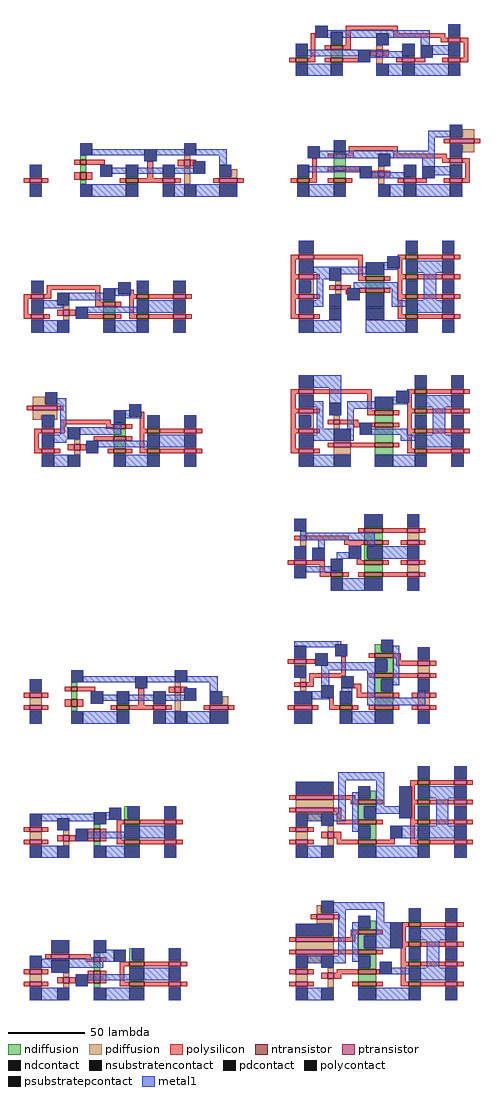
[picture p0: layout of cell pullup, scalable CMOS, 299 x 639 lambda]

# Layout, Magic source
magic
tech scmos
use m_p1 m_p1_0
transform 1 0 107 0 1 234
box -122 37 -4 71
use s_p1_phi s_p1_phi_0
transform 1 0 -26 0 1 167
box -163 25 -19 60
use m_p1_phi m_p1_phi_0
transform 1 0 97 0 1 168
box -111 23 13 71
use s_p1inv s_p1inv_0
transform 1 0 -50 0 1 133
box -140 -31 -27 5
use m_p1inv m_p1inv_0
transform 1 0 113 0 1 121
box -128 -19 -14 43
use s_p1inv_plo s_p1inv_plo_0
transform 1 0 -45 0 1 42
box -142 -28 -25 22
use m_p1inv_plo m_p1inv_plo_0
transform 1 0 114 0 1 41
box -129 -27 -9 35
use m_p2 m_p2_0
transform 1 0 -4 0 1 -44
box -12 -23 79 29
use s_p2_phi s_p2_phi_0
transform 1 0 -113 0 1 -204
box -76 51 62 86
use m_p2_phi m_p2_phi_0
transform 1 0 -8 0 1 -117
box -8 -36 90 19
use s_p2inv s_p2inv_0
transform 1 0 -250 0 1 -313
box 60 71 167 107
use m_p2inv m_p2inv_0
transform 1 0 -98 0 1 -288
box 82 46 205 108
use s_p2inv_plo s_p2inv_plo_0
transform 1 0 -251 0 1 -398
box 61 63 171 103
use m_p2inv_plo m_p2inv_plo_0
transform 1 0 -97 0 1 -368
box 81 33 198 99
<< end >>

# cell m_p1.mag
magic
tech scmos
<< ndiffusion >>
rect -118 49 -110 50
rect -95 57 -87 58
rect -95 49 -87 54
rect -118 45 -110 46
rect -95 45 -87 46
<< pdiffusion >>
rect -18 62 -10 63
rect -18 58 -10 59
rect -65 54 -61 57
rect -65 45 -61 50
rect -48 49 -40 50
rect -18 49 -10 50
rect -48 45 -40 46
rect -18 45 -10 46
<< ntransistor >>
rect -95 54 -87 57
rect -118 46 -110 49
rect -95 46 -87 49
<< ptransistor >>
rect -18 59 -10 62
rect -65 50 -61 54
rect -48 46 -40 49
rect -18 46 -10 49
<< polysilicon >>
rect -108 49 -105 65
rect -85 67 -51 70
rect -85 57 -82 67
rect -54 65 -51 67
rect -99 54 -95 57
rect -87 54 -82 57
rect -54 62 -20 65
rect -23 59 -18 62
rect -10 59 -5 62
rect -122 46 -118 49
rect -110 46 -105 49
rect -99 46 -95 49
rect -87 46 -77 49
rect -69 50 -65 54
rect -61 50 -57 54
rect -8 49 -5 59
rect -52 46 -48 49
rect -40 46 -33 49
rect -22 46 -18 49
rect -10 46 -5 49
<< ndcontact >>
rect -118 50 -110 58
rect -95 58 -87 66
rect -118 37 -110 45
rect -95 37 -87 45
<< pdcontact >>
rect -65 57 -57 65
rect -18 63 -10 71
rect -48 50 -40 58
rect -18 50 -10 58
rect -65 37 -57 45
rect -48 37 -40 45
rect -18 37 -10 45
<< polycontact >>
rect -105 62 -97 70
rect -77 46 -69 54
rect -36 49 -28 57
<< metal1 >>
rect -105 67 -97 70
rect -105 62 -30 67
rect -18 63 -10 71
rect -95 58 -87 62
rect -118 54 -110 58
rect -65 57 -57 62
rect -118 53 -69 54
rect -48 53 -40 58
rect -118 50 -40 53
rect -36 57 -30 62
rect -18 57 -10 58
rect -36 51 -10 57
rect -77 49 -44 50
rect -36 49 -28 51
rect -18 50 -10 51
rect -77 46 -69 49
rect -118 37 -87 45
rect -65 37 -10 45
<< labels >>
rlabel pdcontact -44 41 -44 41 1 Vdd!
rlabel polysilicon -86 55 -86 55 1 a
rlabel metal1 -91 41 -91 41 1 GND!
rlabel metal1 -61 41 -61 41 1 Vdd!
rlabel ndcontact -114 41 -114 41 1 GND!
rlabel polysilicon -9 60 -9 60 1 a
rlabel polysilicon -9 47 -9 47 1 a
rlabel metal1 -14 67 -14 67 5 Vdd!
rlabel metal1 -14 41 -14 41 1 Vdd!
rlabel space -10 37 -4 71 3 ^p
rlabel metal1 -14 54 -14 54 1 x
rlabel metal1 -61 61 -61 61 1 x
rlabel metal1 -91 62 -91 62 1 x
<< end >>

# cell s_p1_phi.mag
magic
tech scmos
<< ndiffusion >>
rect -126 49 -122 52
rect -126 41 -122 46
rect -96 37 -88 38
rect -126 33 -122 36
rect -96 33 -88 34
<< pdiffusion >>
rect -58 49 -54 52
rect -159 37 -151 38
rect -72 37 -64 38
rect -159 33 -151 34
rect -72 33 -64 34
rect -58 33 -54 45
rect -27 38 -23 43
rect -35 37 -23 38
rect -35 33 -23 34
<< ntransistor >>
rect -126 46 -122 49
rect -126 36 -122 41
rect -96 34 -88 37
<< ptransistor >>
rect -159 34 -151 37
rect -58 45 -54 49
rect -72 34 -64 37
rect -35 34 -23 37
<< polysilicon >>
rect -130 46 -126 49
rect -122 46 -110 49
rect -163 34 -159 37
rect -151 34 -147 37
rect -130 36 -126 41
rect -122 36 -118 41
rect -82 37 -78 48
rect -62 45 -58 49
rect -54 48 -50 49
rect -54 45 -52 48
rect -100 34 -96 37
rect -88 34 -72 37
rect -64 34 -60 37
rect -39 34 -35 37
rect -23 34 -19 37
<< ndcontact >>
rect -126 52 -118 60
rect -96 38 -88 46
rect -126 25 -118 33
rect -96 25 -88 33
<< pdcontact >>
rect -58 52 -50 60
rect -159 38 -151 46
rect -72 38 -64 46
rect -159 25 -151 33
rect -72 25 -64 33
rect -35 38 -27 46
rect -58 25 -50 33
rect -35 25 -23 33
<< polycontact >>
rect -84 48 -76 56
rect -113 38 -105 46
rect -52 40 -44 48
<< metal1 >>
rect -126 56 -118 60
rect -58 56 -50 60
rect -126 52 -30 56
rect -84 48 -76 52
rect -159 38 -151 46
rect -113 44 -105 46
rect -96 44 -88 46
rect -72 44 -64 46
rect -52 44 -44 48
rect -113 40 -44 44
rect -35 46 -30 52
rect -113 38 -105 40
rect -96 38 -88 40
rect -72 38 -64 40
rect -35 38 -27 46
rect -159 25 -151 33
rect -126 25 -88 33
rect -72 25 -23 33
<< labels >>
rlabel polysilicon -160 35 -160 35 3 a
rlabel metal1 -155 29 -155 29 1 Vdd!
rlabel metal1 -155 42 -155 42 1 x
rlabel space -151 25 -146 46 3 ^p
rlabel ndcontact -92 29 -92 29 1 GND!
rlabel pdcontact -68 29 -68 29 1 Vdd!
rlabel polysilicon -127 37 -127 37 1 _SReset!
rlabel metal1 -122 56 -122 56 1 x
rlabel metal1 -54 29 -54 29 1 Vdd!
rlabel metal1 -54 56 -54 56 1 x
rlabel metal1 -31 29 -31 29 8 Vdd!
rlabel polysilicon -22 35 -22 35 7 _PReset!
rlabel metal1 -122 29 -122 29 1 GND!
<< end >>

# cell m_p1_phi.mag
magic
tech scmos
<< ndiffusion >>
rect -83 52 -75 53
rect -107 36 -99 37
rect -83 44 -75 49
rect -83 36 -75 41
rect -107 32 -99 33
rect -83 32 -75 33
<< pdiffusion >>
rect 1 63 9 68
rect -7 62 9 63
rect -7 58 9 59
rect 1 53 9 58
rect -7 49 1 50
rect -7 45 1 46
rect -54 41 -50 44
rect -54 32 -50 37
rect -37 36 -29 37
rect -7 36 1 37
rect -37 32 -29 33
rect -7 32 1 33
<< ntransistor >>
rect -83 49 -75 52
rect -83 41 -75 44
rect -107 33 -99 36
rect -83 33 -75 36
<< ptransistor >>
rect -7 59 9 62
rect -7 46 1 49
rect -54 37 -50 41
rect -37 33 -29 36
rect -7 33 1 36
<< polysilicon >>
rect -11 59 -7 62
rect 9 59 13 62
rect -73 54 -41 57
rect -73 52 -70 54
rect -44 52 -41 54
rect -87 49 -83 52
rect -75 49 -70 52
rect -97 36 -94 49
rect -44 49 -9 52
rect -12 46 -7 49
rect 1 46 6 49
rect -87 41 -83 44
rect -75 41 -66 44
rect -58 37 -54 41
rect -50 37 -46 41
rect -111 33 -107 36
rect -99 33 -94 36
rect -87 33 -83 36
rect -75 33 -71 36
rect 3 36 6 46
rect -41 33 -37 36
rect -29 33 -22 36
rect -11 33 -7 36
rect 1 33 6 36
<< ndcontact >>
rect -83 53 -75 61
rect -107 37 -99 45
rect -107 24 -99 32
rect -83 24 -75 32
<< pdcontact >>
rect -7 63 1 71
rect -54 44 -46 52
rect -7 50 1 58
rect -37 37 -29 45
rect -7 37 1 45
rect -54 24 -46 32
rect -37 24 -29 32
rect -7 24 1 32
<< polycontact >>
rect -100 49 -92 57
rect -66 36 -58 44
rect -25 36 -17 44
<< metal1 >>
rect -7 67 1 71
rect -21 63 1 67
rect -100 54 -92 57
rect -83 54 -75 61
rect -21 54 -17 63
rect -100 49 -17 54
rect -7 50 1 58
rect -107 44 -99 45
rect -54 44 -46 49
rect -107 40 -58 44
rect -37 40 -29 45
rect -107 37 -99 40
rect -66 37 -29 40
rect -25 44 -17 49
rect -7 44 1 45
rect -25 38 1 44
rect -66 36 -33 37
rect -25 36 -17 38
rect -7 37 1 38
rect -107 24 -75 32
rect -54 24 1 32
<< labels >>
rlabel pdcontact -33 28 -33 28 1 Vdd!
rlabel metal1 -50 28 -50 28 1 Vdd!
rlabel ndcontact -103 28 -103 28 1 GND!
rlabel metal1 -79 28 -79 28 1 GND!
rlabel polysilicon -74 50 -74 50 1 a
rlabel polysilicon -74 34 -74 34 1 _SReset!
rlabel polysilicon 2 47 2 47 1 a
rlabel polysilicon 2 34 2 34 1 a
rlabel metal1 -3 54 -3 54 5 Vdd!
rlabel metal1 -3 28 -3 28 1 Vdd!
rlabel polysilicon 10 60 10 60 7 _PReset!
rlabel space 0 23 7 51 3 ^p
rlabel metal1 -3 41 -3 41 1 x
rlabel metal1 -3 67 -3 67 5 x
rlabel metal1 -50 48 -50 48 1 x
rlabel metal1 -79 57 -79 57 1 x
<< end >>

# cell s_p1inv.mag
magic
tech scmos
<< ndiffusion >>
rect -65 -5 -57 -4
rect -87 -10 -79 -9
rect -87 -18 -79 -13
rect -65 -9 -57 -8
rect -65 -18 -57 -17
rect -87 -22 -79 -21
rect -65 -22 -57 -21
<< pdiffusion >>
rect -134 -5 -126 -4
rect -134 -9 -126 -8
rect -113 -15 -109 -12
rect -41 -5 -33 -4
rect -134 -18 -126 -17
rect -134 -22 -126 -21
rect -113 -22 -109 -19
rect -41 -9 -33 -8
rect -41 -18 -33 -17
rect -41 -22 -33 -21
<< ntransistor >>
rect -65 -8 -57 -5
rect -87 -13 -79 -10
rect -87 -21 -79 -18
rect -65 -21 -57 -18
<< ptransistor >>
rect -134 -8 -126 -5
rect -41 -8 -33 -5
rect -134 -21 -126 -18
rect -113 -19 -109 -15
rect -41 -21 -33 -18
<< polysilicon >>
rect -124 -2 -89 1
rect -124 -5 -121 -2
rect -139 -8 -134 -5
rect -126 -8 -121 -5
rect -139 -18 -136 -8
rect -92 -10 -89 -2
rect -69 -5 -67 -2
rect -70 -8 -65 -5
rect -57 -8 -41 -5
rect -33 -8 -29 -5
rect -92 -13 -87 -10
rect -79 -13 -75 -10
rect -139 -21 -134 -18
rect -126 -21 -122 -18
rect -117 -19 -113 -15
rect -109 -19 -105 -15
rect -70 -18 -67 -8
rect -97 -21 -87 -18
rect -79 -21 -75 -18
rect -70 -21 -65 -18
rect -57 -21 -41 -18
rect -33 -21 -29 -18
<< ndcontact >>
rect -87 -9 -79 -1
rect -65 -4 -57 4
rect -65 -17 -57 -9
rect -87 -30 -79 -22
rect -65 -30 -57 -22
<< pdcontact >>
rect -134 -4 -126 4
rect -134 -17 -126 -9
rect -117 -12 -109 -4
rect -41 -4 -33 4
rect -41 -17 -33 -9
rect -134 -30 -126 -22
rect -117 -30 -109 -22
rect -41 -30 -33 -22
<< polycontact >>
rect -77 -5 -69 3
rect -105 -21 -97 -13
<< metal1 >>
rect -134 -4 -126 4
rect -77 -1 -69 3
rect -87 -4 -69 -1
rect -65 -4 -57 4
rect -41 -4 -33 4
rect -117 -6 -69 -4
rect -117 -9 -79 -6
rect -134 -12 -109 -9
rect -134 -14 -113 -12
rect -65 -13 -33 -9
rect -134 -17 -126 -14
rect -105 -17 -33 -13
rect -105 -21 -97 -17
rect -134 -30 -109 -22
rect -87 -30 -57 -22
rect -41 -30 -33 -22
<< labels >>
rlabel polysilicon -88 -12 -88 -12 1 a
rlabel polysilicon -88 -20 -88 -20 1 x
rlabel metal1 -83 -5 -83 -5 1 _x
rlabel metal1 -83 -26 -83 -26 1 GND!
rlabel polysilicon -114 -18 -114 -18 1 x
rlabel metal1 -113 -8 -113 -8 1 _x
rlabel metal1 -113 -26 -113 -26 1 Vdd!
rlabel ndcontact -61 -13 -61 -13 1 x
rlabel ndcontact -61 -26 -61 -26 1 GND!
rlabel ndcontact -61 0 -61 0 5 GND!
rlabel polysilicon -66 -20 -66 -20 3 _x
rlabel polysilicon -66 -7 -66 -7 3 _x
rlabel polysilicon -32 -20 -32 -20 1 _x
rlabel polysilicon -32 -7 -32 -7 1 _x
rlabel pdcontact -37 0 -37 0 5 Vdd!
rlabel pdcontact -37 -13 -37 -13 1 x
rlabel pdcontact -37 -26 -37 -26 1 Vdd!
rlabel metal1 -130 -13 -130 -13 1 _x
rlabel metal1 -130 -26 -130 -26 1 Vdd!
rlabel metal1 -130 0 -130 0 5 Vdd!
rlabel polysilicon -135 -20 -135 -20 1 a
rlabel polysilicon -135 -7 -135 -7 1 a
rlabel space -140 -30 -134 4 7 ^p1
rlabel space -33 -30 -28 4 3 ^p2
rlabel space -57 -31 -27 5 3 ^n2
<< end >>

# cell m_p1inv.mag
magic
tech scmos
<< ndiffusion >>
rect -52 33 -44 34
rect -78 19 -66 20
rect -52 29 -44 30
rect -52 20 -44 21
rect -78 11 -66 16
rect -78 7 -66 8
rect -78 -2 -66 -1
rect -52 16 -44 17
rect -52 7 -44 8
rect -52 3 -44 4
rect -52 -6 -44 -5
rect -52 -10 -44 -9
<< pdiffusion >>
rect -122 33 -112 34
rect -28 33 -20 34
rect -122 29 -112 30
rect -122 20 -112 21
rect -122 16 -112 17
rect -28 29 -20 30
rect -28 20 -20 21
rect -114 8 -112 16
rect -98 13 -94 16
rect -122 7 -112 8
rect -98 7 -94 10
rect -122 3 -112 4
rect -122 -6 -112 -5
rect -102 -2 -94 -1
rect -122 -10 -112 -9
rect -28 16 -20 17
rect -28 7 -20 8
rect -28 3 -20 4
rect -28 -6 -20 -5
rect -28 -10 -20 -9
<< ntransistor >>
rect -52 30 -44 33
rect -78 16 -66 19
rect -52 17 -44 20
rect -78 8 -66 11
rect -52 4 -44 7
rect -52 -9 -44 -6
<< ptransistor >>
rect -122 30 -112 33
rect -122 17 -112 20
rect -28 30 -20 33
rect -28 17 -20 20
rect -98 10 -94 13
rect -122 4 -112 7
rect -122 -9 -112 -6
rect -28 4 -20 7
rect -28 -9 -20 -6
<< polysilicon >>
rect -127 30 -122 33
rect -112 30 -80 33
rect -57 32 -52 33
rect -127 20 -124 30
rect -127 17 -122 20
rect -112 17 -108 20
rect -127 7 -124 17
rect -83 19 -80 30
rect -56 30 -52 32
rect -44 30 -28 33
rect -20 30 -16 33
rect -56 24 -54 30
rect -57 20 -54 24
rect -83 16 -78 19
rect -66 16 -62 19
rect -57 17 -52 20
rect -44 17 -28 20
rect -20 17 -16 20
rect -102 10 -98 13
rect -94 11 -88 13
rect -94 10 -90 11
rect -91 7 -90 10
rect -127 4 -122 7
rect -112 4 -108 7
rect -127 -6 -124 4
rect -82 8 -78 11
rect -66 8 -62 11
rect -127 -9 -122 -6
rect -112 -9 -108 -6
rect -57 7 -54 17
rect -57 4 -52 7
rect -44 4 -28 7
rect -20 4 -16 7
rect -57 -6 -54 4
rect -57 -9 -52 -6
rect -44 -9 -28 -6
rect -20 -9 -16 -6
<< ndcontact >>
rect -52 34 -44 42
rect -78 20 -66 28
rect -52 21 -44 29
rect -78 -1 -66 7
rect -52 8 -44 16
rect -52 -5 -44 3
rect -52 -18 -44 -10
<< pdcontact >>
rect -122 34 -112 42
rect -28 34 -20 42
rect -122 21 -112 29
rect -102 16 -94 24
rect -28 21 -20 29
rect -122 8 -114 16
rect -122 -5 -112 3
rect -102 -1 -94 7
rect -28 8 -20 16
rect -28 -5 -20 3
rect -122 -18 -112 -10
rect -28 -18 -20 -10
<< psubstratepcontact >>
rect -78 -10 -66 -2
<< nsubstratencontact >>
rect -102 -10 -94 -2
<< polycontact >>
rect -64 24 -56 32
rect -90 3 -82 11
<< metal1 >>
rect -122 34 -112 42
rect -52 34 -44 42
rect -28 34 -20 42
rect -122 25 -112 29
rect -64 28 -56 32
rect -78 25 -56 28
rect -122 24 -56 25
rect -122 23 -57 24
rect -122 21 -66 23
rect -52 21 -20 29
rect -110 20 -66 21
rect -110 17 -94 20
rect -122 8 -114 16
rect -110 3 -106 17
rect -102 16 -94 17
rect -86 11 -57 15
rect -122 -1 -106 3
rect -122 -5 -112 -1
rect -102 -10 -94 7
rect -90 3 -82 11
rect -122 -18 -94 -10
rect -78 -10 -66 7
rect -61 3 -57 11
rect -52 8 -44 16
rect -40 3 -32 21
rect -28 8 -20 16
rect -61 -1 -20 3
rect -52 -5 -20 -1
rect -78 -18 -44 -10
rect -28 -18 -20 -10
<< labels >>
rlabel metal1 -74 -6 -74 -6 1 GND!
rlabel metal1 -74 3 -74 3 1 GND!
rlabel metal1 -98 -6 -98 -6 1 Vdd!
rlabel metal1 -98 3 -98 3 1 Vdd!
rlabel polysilicon -99 11 -99 11 1 x
rlabel metal1 -74 24 -74 24 1 _x
rlabel polysilicon -79 9 -79 9 1 x
rlabel polysilicon -79 17 -79 17 1 a
rlabel polysilicon -123 -7 -123 -7 5 a
rlabel polysilicon -123 6 -123 6 5 a
rlabel metal1 -118 -14 -118 -14 1 Vdd!
rlabel polysilicon -123 31 -123 31 1 a
rlabel polysilicon -123 18 -123 18 1 a
rlabel metal1 -118 38 -118 38 5 Vdd!
rlabel metal1 -118 12 -118 12 1 Vdd!
rlabel metal1 -117 25 -117 25 1 _x
rlabel metal1 -117 -1 -117 -1 5 _x
rlabel pdcontact -24 -1 -24 -1 5 x
rlabel pdcontact -24 -14 -24 -14 1 Vdd!
rlabel polysilicon -19 -7 -19 -7 5 _x
rlabel polysilicon -19 6 -19 6 5 _x
rlabel polysilicon -53 -7 -53 -7 3 _x
rlabel polysilicon -53 6 -53 6 3 _x
rlabel ndcontact -48 -14 -48 -14 1 GND!
rlabel ndcontact -48 -1 -48 -1 5 x
rlabel pdcontact -24 12 -24 12 1 Vdd!
rlabel pdcontact -24 25 -24 25 1 x
rlabel pdcontact -24 38 -24 38 5 Vdd!
rlabel polysilicon -19 31 -19 31 1 _x
rlabel polysilicon -19 18 -19 18 1 _x
rlabel polysilicon -53 31 -53 31 3 _x
rlabel polysilicon -53 18 -53 18 3 _x
rlabel ndcontact -48 38 -48 38 5 GND!
rlabel ndcontact -48 12 -48 12 1 GND!
rlabel ndcontact -48 25 -48 25 1 x
rlabel metal1 -98 20 -98 20 1 _x
rlabel space -128 -18 -122 42 7 ^p1
rlabel space -20 -18 -15 42 3 ^p2
rlabel space -44 -19 -14 43 3 ^n2
<< end >>

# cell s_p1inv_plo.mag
magic
tech scmos
<< ndiffusion >>
rect -85 1 -77 2
rect -63 -2 -55 -1
rect -85 -7 -77 -2
rect -85 -15 -77 -10
rect -63 -6 -55 -5
rect -63 -15 -55 -14
rect -85 -19 -77 -18
rect -63 -19 -55 -18
<< pdiffusion >>
rect -138 14 -130 19
rect -138 13 -122 14
rect -138 7 -122 10
rect -138 4 -132 7
rect -124 4 -122 7
rect -132 -2 -124 -1
rect -132 -6 -124 -5
rect -39 -2 -31 -1
rect -111 -12 -107 -9
rect -132 -15 -124 -14
rect -132 -19 -124 -18
rect -111 -19 -107 -16
rect -39 -6 -31 -5
rect -39 -15 -31 -14
rect -39 -19 -31 -18
<< ntransistor >>
rect -85 -2 -77 1
rect -63 -5 -55 -2
rect -85 -10 -77 -7
rect -85 -18 -77 -15
rect -63 -18 -55 -15
<< ptransistor >>
rect -138 10 -122 13
rect -132 -5 -124 -2
rect -39 -5 -31 -2
rect -132 -18 -124 -15
rect -111 -16 -107 -12
rect -39 -18 -31 -15
<< polysilicon >>
rect -142 10 -138 13
rect -122 10 -118 13
rect -120 1 -87 4
rect -67 6 -65 9
rect -120 -2 -117 1
rect -137 -5 -132 -2
rect -124 -5 -117 -2
rect -137 -15 -134 -5
rect -90 -2 -85 1
rect -77 -2 -73 1
rect -68 -2 -65 6
rect -68 -5 -63 -2
rect -55 -5 -39 -2
rect -31 -5 -27 -2
rect -98 -10 -85 -7
rect -77 -10 -73 -7
rect -137 -18 -132 -15
rect -124 -18 -120 -15
rect -115 -16 -111 -12
rect -107 -16 -103 -12
rect -68 -15 -65 -5
rect -89 -18 -85 -15
rect -77 -18 -73 -15
rect -68 -18 -63 -15
rect -55 -18 -39 -15
rect -31 -18 -27 -15
<< ndcontact >>
rect -85 2 -77 10
rect -63 -1 -55 7
rect -63 -14 -55 -6
rect -85 -27 -77 -19
rect -63 -27 -55 -19
<< pdcontact >>
rect -130 14 -122 22
rect -132 -1 -124 7
rect -132 -14 -124 -6
rect -115 -9 -107 -1
rect -39 -1 -31 7
rect -39 -14 -31 -6
rect -132 -27 -124 -19
rect -115 -27 -107 -19
rect -39 -27 -31 -19
<< polycontact >>
rect -75 6 -67 14
rect -103 -18 -95 -10
<< metal1 >>
rect -130 18 -122 22
rect -130 14 -116 18
rect -132 -1 -124 7
rect -120 -1 -116 14
rect -75 10 -67 14
rect -85 5 -67 10
rect -85 2 -77 5
rect -85 -1 -80 2
rect -63 -1 -55 7
rect -39 -1 -31 7
rect -120 -6 -80 -1
rect -132 -9 -107 -6
rect -132 -11 -116 -9
rect -63 -10 -31 -6
rect -132 -14 -124 -11
rect -103 -14 -31 -10
rect -103 -18 -95 -14
rect -132 -27 -107 -19
rect -85 -27 -55 -19
rect -39 -27 -31 -19
<< labels >>
rlabel metal1 -111 -23 -111 -23 1 Vdd!
rlabel polysilicon -112 -15 -112 -15 1 x
rlabel metal1 -111 -5 -111 -5 1 _x
rlabel polysilicon -133 -4 -133 -4 1 a
rlabel polysilicon -133 -17 -133 -17 1 a
rlabel metal1 -128 3 -128 3 5 Vdd!
rlabel metal1 -128 -23 -128 -23 1 Vdd!
rlabel metal1 -128 -10 -128 -10 1 _x
rlabel metal1 -126 18 -126 18 1 _x
rlabel polysilicon -139 11 -139 11 3 _PReset!
rlabel space -138 -27 -132 1 7 ^p1
rlabel metal1 -81 6 -81 6 1 _x
rlabel polysilicon -86 -17 -86 -17 1 _SReset!
rlabel polysilicon -86 -9 -86 -9 1 x
rlabel polysilicon -86 -1 -86 -1 1 a
rlabel metal1 -81 -23 -81 -23 1 GND!
rlabel polysilicon -64 -4 -64 -4 3 _x
rlabel polysilicon -64 -17 -64 -17 3 _x
rlabel ndcontact -59 3 -59 3 5 GND!
rlabel ndcontact -59 -23 -59 -23 1 GND!
rlabel ndcontact -59 -10 -59 -10 1 x
rlabel polysilicon -30 -17 -30 -17 1 _x
rlabel polysilicon -30 -4 -30 -4 1 _x
rlabel pdcontact -35 3 -35 3 5 Vdd!
rlabel pdcontact -35 -10 -35 -10 1 x
rlabel pdcontact -35 -23 -35 -23 1 Vdd!
rlabel space -31 -27 -26 7 3 ^p2
rlabel space -55 -28 -25 8 3 ^n2
<< end >>

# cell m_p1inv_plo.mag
magic
tech scmos
<< ndiffusion >>
rect -47 25 -39 26
rect -73 11 -61 12
rect -47 21 -39 22
rect -47 12 -39 13
rect -73 3 -61 8
rect -73 -10 -61 0
rect -47 8 -39 9
rect -47 -1 -39 0
rect -73 -18 -61 -13
rect -47 -5 -39 -4
rect -47 -14 -39 -13
rect -47 -18 -39 -17
<< pdiffusion >>
rect -123 25 -113 26
rect -23 25 -15 26
rect -123 21 -113 22
rect -123 12 -113 13
rect -123 8 -113 9
rect -23 21 -15 22
rect -23 12 -15 13
rect -115 0 -113 8
rect -100 5 -96 8
rect -123 -1 -113 0
rect -100 -1 -96 2
rect -123 -5 -113 -4
rect -100 -10 -89 -9
rect -23 8 -15 9
rect -23 -1 -15 0
rect -123 -14 -113 -13
rect -123 -18 -113 -17
rect -100 -18 -89 -13
rect -23 -5 -15 -4
rect -23 -14 -15 -13
rect -23 -18 -15 -17
<< ntransistor >>
rect -47 22 -39 25
rect -73 8 -61 11
rect -47 9 -39 12
rect -73 0 -61 3
rect -47 -4 -39 -1
rect -73 -13 -61 -10
rect -47 -17 -39 -14
<< ptransistor >>
rect -123 22 -113 25
rect -123 9 -113 12
rect -23 22 -15 25
rect -23 9 -15 12
rect -100 2 -96 5
rect -123 -4 -113 -1
rect -23 -4 -15 -1
rect -100 -13 -89 -10
rect -123 -17 -113 -14
rect -23 -17 -15 -14
<< polysilicon >>
rect -128 22 -123 25
rect -113 22 -75 25
rect -52 24 -47 25
rect -128 12 -125 22
rect -128 9 -123 12
rect -113 9 -109 12
rect -128 -1 -125 9
rect -78 11 -75 22
rect -51 22 -47 24
rect -39 22 -23 25
rect -15 22 -11 25
rect -51 16 -49 22
rect -52 12 -49 16
rect -78 8 -73 11
rect -61 8 -57 11
rect -52 9 -47 12
rect -39 9 -23 12
rect -15 9 -11 12
rect -104 2 -100 5
rect -96 3 -84 5
rect -96 2 -83 3
rect -87 0 -83 2
rect -128 -4 -123 -1
rect -113 -4 -109 -1
rect -128 -14 -125 -4
rect -75 0 -73 3
rect -61 0 -57 3
rect -52 -1 -49 9
rect -52 -4 -47 -1
rect -39 -4 -23 -1
rect -15 -4 -11 -1
rect -104 -13 -100 -10
rect -89 -13 -73 -10
rect -61 -13 -57 -10
rect -128 -17 -123 -14
rect -113 -17 -109 -14
rect -52 -14 -49 -4
rect -52 -17 -47 -14
rect -39 -17 -23 -14
rect -15 -17 -11 -14
<< ndcontact >>
rect -47 26 -39 34
rect -73 12 -61 20
rect -47 13 -39 21
rect -47 0 -39 8
rect -47 -13 -39 -5
rect -73 -26 -61 -18
rect -47 -26 -39 -18
<< pdcontact >>
rect -123 26 -113 34
rect -23 26 -15 34
rect -123 13 -113 21
rect -103 8 -95 16
rect -23 13 -15 21
rect -123 0 -115 8
rect -123 -13 -113 -5
rect -100 -9 -89 -1
rect -23 0 -15 8
rect -123 -26 -113 -18
rect -100 -26 -89 -18
rect -23 -13 -15 -5
rect -23 -26 -15 -18
<< polycontact >>
rect -59 16 -51 24
rect -83 -5 -75 3
<< metal1 >>
rect -123 26 -95 34
rect -47 26 -39 34
rect -23 26 -15 34
rect -123 17 -113 21
rect -123 13 -107 17
rect -123 0 -115 8
rect -111 -1 -107 13
rect -103 8 -95 26
rect -59 20 -51 24
rect -73 17 -51 20
rect -91 16 -51 17
rect -91 15 -52 16
rect -91 12 -61 15
rect -47 13 -15 21
rect -91 -1 -87 12
rect -111 -5 -87 -1
rect -83 -1 -75 3
rect -47 0 -39 8
rect -83 -5 -52 -1
rect -35 -5 -27 13
rect -23 0 -15 8
rect -123 -9 -87 -5
rect -56 -9 -15 -5
rect -123 -13 -113 -9
rect -47 -13 -15 -9
rect -123 -26 -89 -18
rect -73 -26 -39 -18
rect -23 -26 -15 -18
<< labels >>
rlabel metal1 -69 16 -69 16 1 _x
rlabel polysilicon -74 1 -74 1 1 x
rlabel polysilicon -74 9 -74 9 1 a
rlabel metal1 -69 -22 -69 -22 1 GND!
rlabel polysilicon -74 -12 -74 -12 1 _PReset!
rlabel polysilicon -124 -15 -124 -15 5 a
rlabel polysilicon -124 -2 -124 -2 5 a
rlabel metal1 -119 -22 -119 -22 1 Vdd!
rlabel polysilicon -124 23 -124 23 1 a
rlabel polysilicon -124 10 -124 10 1 a
rlabel metal1 -119 30 -119 30 5 Vdd!
rlabel metal1 -119 4 -119 4 1 Vdd!
rlabel metal1 -118 -9 -118 -9 5 _x
rlabel metal1 -118 17 -118 17 1 _x
rlabel metal1 -94 -22 -94 -22 1 Vdd!
rlabel polysilicon -88 -12 -88 -12 1 _PReset!
rlabel metal1 -95 -5 -95 -5 1 _x
rlabel polysilicon -101 3 -101 3 1 x
rlabel pdcontact -19 -9 -19 -9 5 x
rlabel pdcontact -19 -22 -19 -22 1 Vdd!
rlabel polysilicon -14 -15 -14 -15 5 _x
rlabel polysilicon -14 -2 -14 -2 5 _x
rlabel polysilicon -48 -15 -48 -15 3 _x
rlabel polysilicon -48 -2 -48 -2 3 _x
rlabel ndcontact -43 -22 -43 -22 1 GND!
rlabel ndcontact -43 -9 -43 -9 5 x
rlabel pdcontact -19 4 -19 4 1 Vdd!
rlabel pdcontact -19 17 -19 17 1 x
rlabel pdcontact -19 30 -19 30 5 Vdd!
rlabel polysilicon -14 23 -14 23 1 _x
rlabel polysilicon -14 10 -14 10 1 _x
rlabel polysilicon -48 23 -48 23 3 _x
rlabel polysilicon -48 10 -48 10 3 _x
rlabel ndcontact -43 30 -43 30 5 GND!
rlabel ndcontact -43 4 -43 4 1 GND!
rlabel ndcontact -43 17 -43 17 1 x
rlabel metal1 -99 12 -99 12 1 Vdd!
rlabel space -15 -26 -10 34 3 ^p2
rlabel space -39 -27 -9 35 3 ^n2
rlabel space -129 -26 -123 34 7 ^p1
<< end >>

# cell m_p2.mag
magic
tech scmos
<< ndiffusion >>
rect 38 19 50 20
rect 38 11 50 16
rect 38 7 50 8
rect 38 -1 40 7
rect 38 -2 50 -1
rect 16 -10 24 -9
rect 38 -10 50 -5
rect 16 -14 24 -13
rect 38 -14 50 -13
<< pdiffusion >>
rect 66 19 74 20
rect -4 14 0 17
rect 66 11 74 16
rect -4 7 0 11
rect -8 -2 0 -1
rect -8 -6 0 -5
rect 66 7 74 8
rect 66 -2 74 -1
rect 66 -10 74 -5
rect 66 -14 74 -13
<< ntransistor >>
rect 38 16 50 19
rect 38 8 50 11
rect 38 -5 50 -2
rect 16 -13 24 -10
rect 38 -13 50 -10
<< ptransistor >>
rect 66 16 74 19
rect -4 11 0 14
rect 66 8 74 11
rect -8 -5 0 -2
rect 66 -5 74 -2
rect 66 -13 74 -10
<< polysilicon >>
rect 34 16 38 19
rect 50 16 66 19
rect 74 16 78 19
rect -8 11 -4 14
rect 0 11 28 14
rect 25 8 38 11
rect 50 8 54 11
rect 62 8 66 11
rect 74 8 78 11
rect 28 7 36 8
rect -12 -5 -8 -2
rect 0 -5 12 -2
rect 9 -10 12 -5
rect 33 -2 36 -1
rect 33 -5 38 -2
rect 50 -5 54 -2
rect 62 -5 66 -2
rect 74 -5 78 -2
rect 9 -13 16 -10
rect 24 -13 28 -10
rect 34 -13 38 -10
rect 50 -13 66 -10
rect 74 -13 78 -10
<< ndcontact >>
rect 38 20 50 28
rect 16 -9 24 -1
rect 40 -1 50 7
rect 16 -22 24 -14
rect 38 -22 50 -14
<< pdcontact >>
rect -8 17 0 25
rect 66 20 74 28
rect -8 -1 0 7
rect -8 -14 0 -6
rect 66 -1 74 7
rect 66 -22 74 -14
<< polycontact >>
rect 4 -2 12 6
rect 28 -1 36 7
<< metal1 >>
rect -8 17 0 25
rect 38 20 50 28
rect 66 20 74 28
rect -4 16 0 17
rect -4 11 45 16
rect -8 -1 0 7
rect 8 6 12 11
rect 40 7 45 11
rect 4 -2 12 6
rect 28 3 36 7
rect 20 -1 36 3
rect 40 -1 74 7
rect 16 -6 24 -1
rect -8 -9 24 -6
rect -8 -10 20 -9
rect -8 -14 0 -10
rect 16 -22 50 -14
rect 66 -22 74 -14
<< labels >>
rlabel metal1 44 -18 44 -18 1 GND!
rlabel metal1 44 24 44 24 5 GND!
rlabel metal1 70 24 70 24 5 Vdd!
rlabel metal1 70 -18 70 -18 1 Vdd!
rlabel polysilicon 75 -12 75 -12 1 a
rlabel polysilicon 75 -4 75 -4 1 b
rlabel polysilicon 75 9 75 9 1 a
rlabel polysilicon 75 17 75 17 1 b
rlabel metal1 20 -18 20 -18 1 GND!
rlabel metal1 -4 3 -4 3 1 Vdd!
rlabel space 73 -23 79 29 3 ^p
rlabel metal1 70 3 70 3 1 x
rlabel metal1 45 3 45 3 1 x
rlabel metal1 -4 21 -4 21 1 x
<< end >>

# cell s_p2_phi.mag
magic
tech scmos
<< ndiffusion >>
rect -45 75 -41 78
rect -45 67 -41 72
rect -15 63 -7 64
rect -45 59 -41 62
rect -15 59 -7 60
<< pdiffusion >>
rect 23 75 27 78
rect -72 71 -64 72
rect -72 63 -64 68
rect 9 63 17 64
rect -72 59 -64 60
rect 9 59 17 60
rect 23 59 27 71
rect 54 64 58 69
rect 46 63 58 64
rect 46 59 58 60
<< ntransistor >>
rect -45 72 -41 75
rect -45 62 -41 67
rect -15 60 -7 63
<< ptransistor >>
rect -72 68 -64 71
rect -72 60 -64 63
rect 23 71 27 75
rect 9 60 17 63
rect 46 60 58 63
<< polysilicon >>
rect -49 72 -45 75
rect -41 72 -29 75
rect -76 68 -72 71
rect -64 68 -60 71
rect -76 60 -72 63
rect -64 60 -60 63
rect -49 62 -45 67
rect -41 62 -37 67
rect -1 63 3 74
rect 19 71 23 75
rect 27 74 31 75
rect 27 71 29 74
rect -19 60 -15 63
rect -7 60 9 63
rect 17 60 21 63
rect 42 60 46 63
rect 58 60 62 63
<< ndcontact >>
rect -45 78 -37 86
rect -15 64 -7 72
rect -45 51 -37 59
rect -15 51 -7 59
<< pdcontact >>
rect -72 72 -64 80
rect 23 78 31 86
rect 9 64 17 72
rect -72 51 -64 59
rect 9 51 17 59
rect 46 64 54 72
rect 23 51 31 59
rect 46 51 58 59
<< polycontact >>
rect -3 74 5 82
rect -32 64 -24 72
rect 29 66 37 74
<< metal1 >>
rect -45 82 -37 86
rect 23 82 31 86
rect -72 72 -64 80
rect -45 78 51 82
rect -3 74 5 78
rect -32 70 -24 72
rect -15 70 -7 72
rect 9 70 17 72
rect 29 70 37 74
rect -32 66 37 70
rect 46 72 51 78
rect -32 64 -24 66
rect -15 64 -7 66
rect 9 64 17 66
rect 46 64 54 72
rect -72 51 -64 59
rect -45 51 -7 59
rect 9 51 58 59
<< labels >>
rlabel polysilicon -73 61 -73 61 3 a
rlabel metal1 -68 55 -68 55 1 Vdd!
rlabel metal1 -68 76 -68 76 1 x
rlabel polysilicon -73 69 -73 69 3 b
rlabel space -64 51 -59 80 3 ^p
rlabel ndcontact -11 55 -11 55 1 GND!
rlabel pdcontact 13 55 13 55 1 Vdd!
rlabel polysilicon -46 63 -46 63 1 _SReset!
rlabel metal1 -41 82 -41 82 1 x
rlabel metal1 27 55 27 55 1 Vdd!
rlabel metal1 27 82 27 82 1 x
rlabel metal1 50 55 50 55 8 Vdd!
rlabel polysilicon 59 61 59 61 7 _PReset!
rlabel metal1 -41 55 -41 55 1 GND!
<< end >>

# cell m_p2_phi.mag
magic
tech scmos
<< ndiffusion >>
rect 49 11 53 16
rect 49 10 61 11
rect 49 6 61 7
rect 57 -2 61 6
rect 49 -3 61 -2
rect 49 -7 61 -6
rect 49 -15 53 -7
rect 49 -16 61 -15
rect 26 -24 34 -23
rect 49 -24 61 -19
rect 26 -28 34 -27
rect 49 -28 61 -27
<< pdiffusion >>
rect -4 6 4 7
rect -4 2 4 3
rect 77 5 85 6
rect 77 -3 85 2
rect 0 -9 4 -6
rect 0 -15 4 -12
rect -4 -24 8 -23
rect 77 -7 85 -6
rect 77 -16 85 -15
rect 77 -24 85 -19
rect -4 -28 8 -27
rect 77 -28 85 -27
<< ntransistor >>
rect 49 7 61 10
rect 49 -6 61 -3
rect 49 -19 61 -16
rect 26 -27 34 -24
rect 49 -27 61 -24
<< ptransistor >>
rect -4 3 4 6
rect 77 2 85 5
rect 0 -12 4 -9
rect 77 -6 85 -3
rect 77 -19 85 -16
rect -4 -27 8 -24
rect 77 -27 85 -24
<< polysilicon >>
rect -8 3 -4 6
rect 4 3 10 6
rect 27 -3 30 8
rect 45 7 49 10
rect 61 7 66 10
rect 63 5 66 7
rect 63 2 77 5
rect 85 2 89 5
rect 6 -5 30 -3
rect 6 -6 27 -5
rect 6 -9 9 -6
rect -4 -12 0 -9
rect 4 -12 9 -9
rect 45 -6 49 -3
rect 61 -6 77 -3
rect 85 -6 89 -3
rect 35 -13 40 -10
rect 19 -24 22 -19
rect 37 -16 40 -13
rect 37 -19 49 -16
rect 61 -19 65 -16
rect 73 -19 77 -16
rect 85 -19 89 -16
rect -8 -27 -4 -24
rect 8 -27 12 -24
rect 19 -27 26 -24
rect 34 -27 38 -24
rect 45 -27 49 -24
rect 61 -27 65 -24
rect 73 -27 77 -24
rect 85 -27 89 -24
<< ndcontact >>
rect 53 11 61 19
rect 49 -2 57 6
rect 26 -23 34 -15
rect 53 -15 61 -7
rect 26 -36 34 -28
rect 49 -36 61 -28
<< pdcontact >>
rect -4 7 4 15
rect -4 -6 4 2
rect 77 6 85 14
rect -4 -23 8 -15
rect 77 -15 85 -7
rect -4 -36 8 -28
rect 77 -36 85 -28
<< polycontact >>
rect 10 2 18 10
rect 23 8 31 16
rect 14 -19 22 -11
rect 27 -13 35 -5
<< metal1 >>
rect -4 16 27 18
rect -4 14 31 16
rect -4 7 4 14
rect 10 4 18 10
rect 23 8 31 14
rect 53 15 61 19
rect 53 11 65 15
rect 49 4 57 6
rect 10 2 57 4
rect -4 -6 4 2
rect 14 -1 57 2
rect 14 -11 19 -1
rect 44 -2 57 -1
rect 14 -15 22 -11
rect 27 -13 35 -5
rect 27 -15 34 -13
rect -4 -19 22 -15
rect -4 -20 19 -19
rect -4 -23 8 -20
rect 26 -23 34 -15
rect 44 -19 49 -2
rect 61 -7 65 11
rect 77 6 85 14
rect 53 -11 65 -7
rect 53 -15 61 -11
rect 77 -15 85 -7
rect 77 -19 82 -15
rect 44 -24 82 -19
rect -4 -36 8 -28
rect 26 -36 61 -28
rect 77 -36 85 -28
<< labels >>
rlabel metal1 55 -32 55 -32 1 GND!
rlabel metal1 81 10 81 10 5 Vdd!
rlabel metal1 81 -32 81 -32 1 Vdd!
rlabel polysilicon 86 -26 86 -26 1 a
rlabel polysilicon 86 -18 86 -18 1 b
rlabel polysilicon 86 -5 86 -5 1 a
rlabel polysilicon 86 3 86 3 1 b
rlabel polysilicon 48 -26 48 -26 1 _SReset!
rlabel metal1 30 -32 30 -32 1 GND!
rlabel metal1 0 -2 0 -2 5 Vdd!
rlabel polysilicon -5 -26 -5 -26 3 _PReset!
rlabel metal1 2 -32 2 -32 1 Vdd!
rlabel space 85 -36 90 14 3 ^p
rlabel metal1 2 -19 2 -19 1 x
rlabel metal1 53 2 53 2 1 x
rlabel metal1 81 -11 81 -11 1 x
<< end >>

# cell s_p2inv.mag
magic
tech scmos
<< ndiffusion >>
rect 127 98 129 106
rect 127 97 137 98
rect 107 91 111 94
rect 127 93 137 94
rect 127 84 137 85
rect 107 80 111 83
rect 127 80 137 81
<< pdiffusion >>
rect 65 92 73 93
rect 153 97 161 98
rect 65 84 73 89
rect 87 87 91 90
rect 153 93 161 94
rect 153 84 161 85
rect 65 80 73 81
rect 87 80 91 83
rect 153 80 161 81
<< ntransistor >>
rect 127 94 137 97
rect 107 83 111 91
rect 127 81 137 84
<< ptransistor >>
rect 65 89 73 92
rect 153 94 161 97
rect 65 81 73 84
rect 87 83 91 87
rect 153 81 161 84
<< polysilicon >>
rect 61 89 65 92
rect 73 89 77 92
rect 122 94 127 97
rect 137 94 153 97
rect 161 94 165 97
rect 61 81 65 84
rect 73 81 77 84
rect 83 83 87 87
rect 91 83 95 87
rect 103 83 107 91
rect 111 83 115 91
rect 122 84 125 94
rect 122 81 127 84
rect 137 81 153 84
rect 161 81 165 84
<< ndcontact >>
rect 107 94 115 102
rect 129 98 137 106
rect 127 85 137 93
rect 107 72 115 80
rect 127 72 137 80
<< pdcontact >>
rect 65 93 73 101
rect 83 90 91 98
rect 153 98 161 106
rect 153 85 161 93
rect 65 72 73 80
rect 83 72 91 80
rect 153 72 161 80
<< polycontact >>
rect 117 97 125 105
rect 95 83 103 91
<< metal1 >>
rect 117 102 125 105
rect 107 101 125 102
rect 65 97 125 101
rect 129 98 137 106
rect 153 98 161 106
rect 65 96 115 97
rect 65 93 73 96
rect 83 90 91 96
rect 107 94 115 96
rect 95 89 103 91
rect 127 89 161 93
rect 95 85 161 89
rect 95 83 103 85
rect 65 72 91 80
rect 107 72 137 80
rect 153 72 161 80
<< labels >>
rlabel polysilicon 64 90 64 90 3 b
rlabel polysilicon 64 82 64 82 3 a
rlabel metal1 69 97 69 97 5 _x
rlabel metal1 87 94 87 94 1 _x
rlabel polysilicon 106 84 106 84 1 x
rlabel polysilicon 86 84 86 84 1 x
rlabel metal1 87 76 87 76 1 Vdd!
rlabel metal1 69 76 69 76 1 Vdd!
rlabel metal1 111 76 111 76 1 GND!
rlabel pdcontact 157 76 157 76 1 Vdd!
rlabel pdcontact 157 89 157 89 1 x
rlabel pdcontact 157 102 157 102 5 Vdd!
rlabel polysilicon 162 95 162 95 1 _x
rlabel polysilicon 162 82 162 82 1 _x
rlabel ndcontact 133 102 133 102 5 GND!
rlabel ndcontact 133 76 133 76 1 GND!
rlabel ndcontact 132 89 132 89 1 x
rlabel metal1 111 98 111 98 1 _x
rlabel space 60 72 65 101 7 ^p1
rlabel space 161 72 166 106 3 ^p2
rlabel space 137 71 167 107 3 ^n2
<< end >>

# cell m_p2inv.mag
magic
tech scmos
<< ndiffusion >>
rect 167 98 175 99
rect 136 86 140 91
rect 128 85 140 86
rect 128 81 140 82
rect 128 73 132 81
rect 167 94 175 95
rect 167 85 175 86
rect 128 72 140 73
rect 167 81 175 82
rect 167 72 175 73
rect 128 68 140 69
rect 136 60 140 68
rect 128 59 140 60
rect 167 68 175 69
rect 167 59 175 60
rect 128 55 140 56
rect 167 55 175 56
<< pdiffusion >>
rect 191 98 199 99
rect 111 89 112 97
rect 87 88 112 89
rect 87 80 112 85
rect 87 76 112 77
rect 95 71 104 76
rect 191 94 199 95
rect 191 85 199 86
rect 191 81 199 82
rect 191 72 199 73
rect 87 67 95 68
rect 108 64 112 68
rect 87 59 95 64
rect 87 55 95 56
rect 108 55 112 60
rect 191 68 199 69
rect 191 59 199 60
rect 191 55 199 56
<< ntransistor >>
rect 167 95 175 98
rect 128 82 140 85
rect 167 82 175 85
rect 128 69 140 72
rect 167 69 175 72
rect 128 56 140 59
rect 167 56 175 59
<< ptransistor >>
rect 191 95 199 98
rect 87 85 112 88
rect 87 77 112 80
rect 191 82 199 85
rect 191 69 199 72
rect 87 64 95 67
rect 108 60 112 64
rect 87 56 95 59
rect 191 56 199 59
<< polysilicon >>
rect 162 95 167 98
rect 175 95 191 98
rect 199 95 203 98
rect 162 94 165 95
rect 83 85 87 88
rect 112 85 126 88
rect 123 82 128 85
rect 140 82 144 85
rect 83 77 87 80
rect 112 77 117 80
rect 114 72 117 77
rect 163 85 165 94
rect 163 82 167 85
rect 175 82 191 85
rect 199 82 203 85
rect 163 73 165 82
rect 162 72 165 73
rect 114 69 128 72
rect 140 69 144 72
rect 162 69 167 72
rect 175 69 191 72
rect 199 69 203 72
rect 83 64 87 67
rect 95 64 99 67
rect 104 60 108 64
rect 112 60 117 64
rect 83 56 87 59
rect 95 56 99 59
rect 114 59 117 60
rect 149 59 152 60
rect 114 56 128 59
rect 140 56 152 59
rect 162 59 165 69
rect 162 56 167 59
rect 175 56 191 59
rect 199 56 203 59
<< ndcontact >>
rect 167 99 175 107
rect 128 86 136 94
rect 132 73 140 81
rect 167 86 175 94
rect 167 73 175 81
rect 128 60 136 68
rect 167 60 175 68
rect 128 47 140 55
rect 167 47 175 55
<< pdcontact >>
rect 191 99 199 107
rect 87 89 111 97
rect 87 68 95 76
rect 104 68 112 76
rect 191 86 199 94
rect 191 73 199 81
rect 191 60 199 68
rect 87 47 95 55
rect 104 47 112 55
rect 191 47 199 55
<< polycontact >>
rect 155 73 163 94
rect 149 60 157 68
<< metal1 >>
rect 115 98 145 103
rect 167 99 175 107
rect 191 99 199 107
rect 87 89 111 97
rect 115 76 120 98
rect 128 90 136 94
rect 87 71 120 76
rect 124 86 136 90
rect 87 68 95 71
rect 104 68 112 71
rect 124 68 128 86
rect 140 81 145 98
rect 155 81 163 94
rect 167 86 199 94
rect 132 76 163 81
rect 132 73 140 76
rect 155 73 163 76
rect 167 73 175 81
rect 179 68 187 86
rect 191 73 199 81
rect 124 64 136 68
rect 128 60 136 64
rect 149 60 199 68
rect 87 47 112 55
rect 128 47 175 55
rect 191 47 199 55
<< labels >>
rlabel polysilicon 127 57 127 57 1 x
rlabel polysilicon 127 83 127 83 1 b
rlabel polysilicon 127 70 127 70 1 a
rlabel metal1 108 51 108 51 1 Vdd!
rlabel polysilicon 86 86 86 86 3 b
rlabel polysilicon 86 78 86 78 3 a
rlabel polysilicon 86 65 86 65 3 b
rlabel polysilicon 86 57 86 57 3 a
rlabel metal1 91 93 91 93 1 Vdd!
rlabel metal1 91 51 91 51 1 Vdd!
rlabel metal1 91 72 91 72 1 _x
rlabel metal1 136 78 136 78 1 _x
rlabel metal1 134 51 134 51 1 GND!
rlabel ndcontact 171 51 171 51 1 GND!
rlabel polysilicon 200 71 200 71 5 _x
rlabel polysilicon 200 58 200 58 5 _x
rlabel pdcontact 195 51 195 51 1 Vdd!
rlabel pdcontact 195 64 195 64 5 x
rlabel ndcontact 171 77 171 77 1 GND!
rlabel polysilicon 200 83 200 83 1 _x
rlabel pdcontact 195 77 195 77 1 Vdd!
rlabel polysilicon 200 96 200 96 1 _x
rlabel pdcontact 195 103 195 103 5 Vdd!
rlabel pdcontact 195 90 195 90 1 x
rlabel ndcontact 171 103 171 103 5 GND!
rlabel ndcontact 171 90 171 90 1 x
rlabel ndcontact 171 64 171 64 5 x
rlabel metal1 108 72 108 72 1 _x
rlabel polysilicon 113 61 113 61 5 x
rlabel space 82 47 87 97 7 ^p1
rlabel space 199 47 204 107 3 ^p2
rlabel space 175 46 205 108 3 ^n2
<< end >>

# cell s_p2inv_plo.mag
magic
tech scmos
<< ndiffusion >>
rect 108 92 112 95
rect 131 90 133 98
rect 131 89 141 90
rect 108 83 112 89
rect 131 85 141 86
rect 131 76 141 77
rect 108 72 112 75
rect 131 72 141 73
<< pdiffusion >>
rect 80 94 92 95
rect 66 84 74 85
rect 80 90 92 91
rect 157 89 165 90
rect 66 76 74 81
rect 88 79 92 82
rect 66 72 74 73
rect 88 72 92 75
rect 157 85 165 86
rect 157 76 165 77
rect 157 72 165 73
<< ntransistor >>
rect 108 89 112 92
rect 131 86 141 89
rect 108 75 112 83
rect 131 73 141 76
<< ptransistor >>
rect 80 91 92 94
rect 66 81 74 84
rect 157 86 165 89
rect 66 73 74 76
rect 88 75 92 79
rect 157 73 165 76
<< polysilicon >>
rect 76 91 80 94
rect 92 92 106 94
rect 92 91 108 92
rect 62 81 66 84
rect 74 81 78 84
rect 103 89 108 91
rect 112 89 116 92
rect 125 86 131 89
rect 141 86 157 89
rect 165 86 169 89
rect 62 73 66 76
rect 74 73 78 76
rect 84 75 88 79
rect 92 75 96 79
rect 104 75 108 83
rect 112 75 116 83
rect 125 76 128 86
rect 125 73 131 76
rect 141 73 157 76
rect 165 73 169 76
<< ndcontact >>
rect 108 95 116 103
rect 133 90 141 98
rect 131 77 141 85
rect 108 64 116 72
rect 131 64 141 72
<< pdcontact >>
rect 80 95 92 103
rect 66 85 74 93
rect 80 82 92 90
rect 157 90 165 98
rect 157 77 165 85
rect 66 64 74 72
rect 84 64 92 72
rect 157 64 165 72
<< polycontact >>
rect 121 89 129 97
rect 96 73 104 81
<< metal1 >>
rect 80 95 92 103
rect 108 97 116 103
rect 66 91 74 93
rect 108 91 129 97
rect 66 89 129 91
rect 133 90 141 98
rect 157 90 165 98
rect 66 85 114 89
rect 80 82 92 85
rect 131 81 165 85
rect 96 77 165 81
rect 96 73 104 77
rect 66 64 92 72
rect 108 64 141 72
rect 157 64 165 72
<< labels >>
rlabel polysilicon 65 82 65 82 3 b
rlabel polysilicon 65 74 65 74 3 a
rlabel polysilicon 107 76 107 76 1 x
rlabel polysilicon 87 76 87 76 1 x
rlabel metal1 88 68 88 68 1 Vdd!
rlabel metal1 70 68 70 68 1 Vdd!
rlabel metal1 112 68 112 68 1 GND!
rlabel metal1 112 98 112 98 1 _x
rlabel pdcontact 161 68 161 68 1 Vdd!
rlabel pdcontact 161 81 161 81 1 x
rlabel pdcontact 161 94 161 94 5 Vdd!
rlabel polysilicon 166 87 166 87 1 _x
rlabel polysilicon 166 74 166 74 1 _x
rlabel ndcontact 137 94 137 94 5 GND!
rlabel ndcontact 137 68 137 68 1 GND!
rlabel ndcontact 136 81 136 81 1 x
rlabel metal1 70 89 70 89 5 _x
rlabel metal1 125 93 125 93 1 _x
rlabel metal1 88 99 88 99 5 Vdd!
rlabel polysilicon 93 92 93 92 1 _PReset!
rlabel metal1 86 86 86 86 1 _x
rlabel space 61 64 66 93 7 ^p1
rlabel space 165 64 170 98 3 ^p2
rlabel space 141 63 171 99 3 ^n2
<< comment >>
<< labels >>
<< end >>

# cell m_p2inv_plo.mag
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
